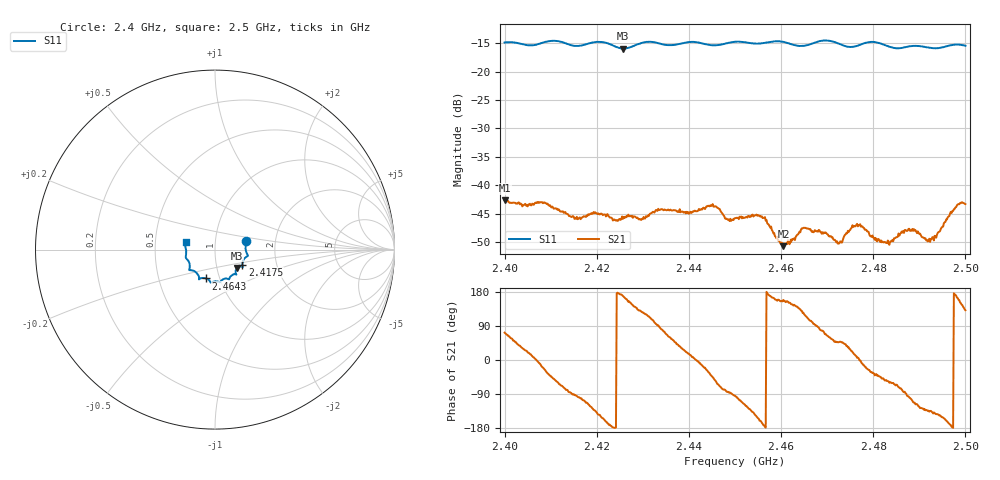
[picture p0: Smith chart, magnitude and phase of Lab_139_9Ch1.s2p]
# Hz S RI R 50
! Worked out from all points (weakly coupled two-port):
!   601 points, 2.4 GHz to 2.5 GHz, reference 50 ohm
!   highest |S21| = -42.68 dB at 2.4 GHz (marker M1); lowest = -50.7 dB at 2.4605 GHz (marker M2)
!   lowest |S11| = -15.9 dB at 2.4257 GHz (marker M3), VSWR 1.38, Z = 62.5 - j13.1 ohm
!   |S11| at or under -10 dB: start of sweep to end of sweep
!   S12 and S22 are empty: the file has one direction only
!   S11 on the Smith chart (normalised r, x): 2.4 GHz: 1.41, +0.14; 2.4175 GHz: 1.34, -0.23; 2.4643 GHz: 0.86, -0.28; 2.5 GHz: 0.72, +0.06
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2.4e9  0.1735 0.0494  0.00226 0.00699  0 0  0 0
2.4085e9  0.1796 -0.0248  0.00649 -0.00271  0 0  0 0
2.416667e9  0.1531 -0.074  -0.000984 -0.00502  0 0  0 0
2.4175e9  0.1521 -0.0836  -0.00181 -0.00497  0 0  0 0
2.425667e9  0.123 -0.1019  -0.00496 0.000949  0 0  0 0
2.43e9  0.1174 -0.1369  -0.00294 0.00406  0 0  0 0
2.433333e9  0.1138 -0.1371  -0.000164 0.00619  0 0  0 0
2.440167e9  0.0788 -0.1647  0.00557 0.00135  0 0  0 0
2.445167e9  0.0542 -0.1619  0.00478 -0.00485  0 0  0 0
2.448333e9  0.0335 -0.1751  0.000506 -0.00499  0 0  0 0
2.45e9  0.0289 -0.1812  -0.00038 -0.00511  0 0  0 0
2.456e9  -0.00662 -0.178  -0.00502 -0.00103  0 0  0 0
2.4605e9  -0.0257 -0.1812  -0.0027 0.00107  0 0  0 0
2.464333e9  -0.0499 -0.1605  -0.00264 0.00309  0 0  0 0
2.466667e9  -0.0763 -0.1591  -0.000731 0.00381  0 0  0 0
2.472833e9  -0.0906 -0.1489  0.00212 0.00239  0 0  0 0
2.476833e9  -0.1251 -0.1159  0.00445 0.000331  0 0  0 0
2.483333e9  -0.1406 -0.0896  0.00169 -0.00254  0 0  0 0
2.487333e9  -0.1569 -0.0532  -0.000289 -0.00394  0 0  0 0
2.492667e9  -0.1605 -0.018  -0.00242 -0.00231  0 0  0 0
2.498e9  -0.1703 0.0329  -0.00631 0.00117  0 0  0 0
2.5e9  -0.1636 0.043  -0.0045 0.00511  0 0  0 0
